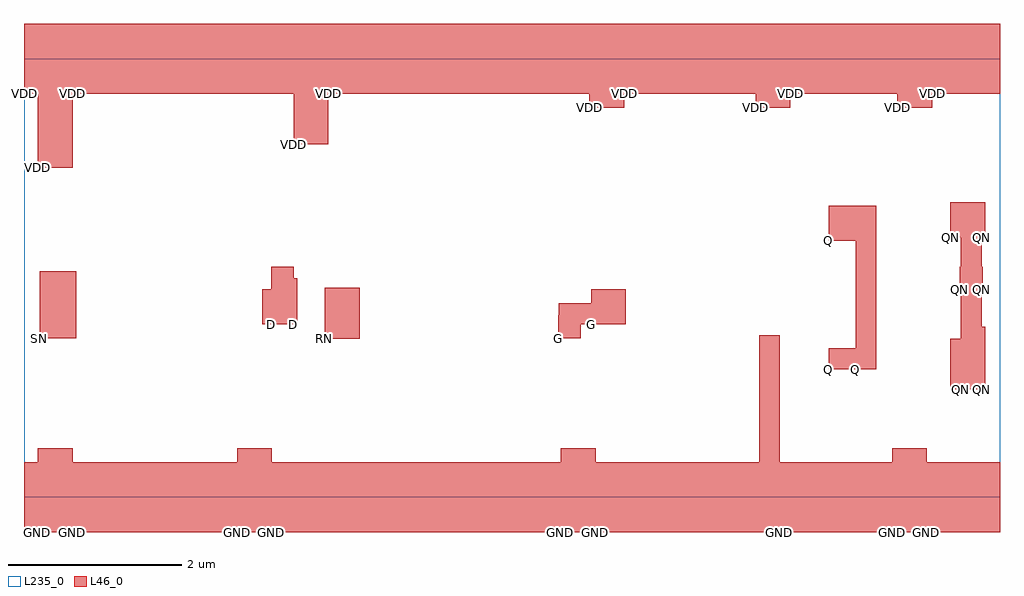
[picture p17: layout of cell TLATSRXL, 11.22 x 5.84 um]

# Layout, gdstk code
import gdstk
lib = gdstk.Library(unit=1e-6, precision=1e-09)
def R(c, l, rs):  # rectangles x0, y0, x1, y1
    for r in rs: c.add(gdstk.rectangle(r[:2], r[2:], *l))
L46_0 = (46, 0)
L235_0 = (235, 0)

tlatsrxl = lib.new_cell('TLATSRXL')
R(tlatsrxl, L46_0, [(0,-0.4,0.16,0.4), (0.16,-0.4,0.56,0.56), (0.56,-0.4,2.45,0.4), (2.45,-0.4,2.85,0.56), (2.85,-0.4,6.17,0.4), (6.17,-0.4,6.57,0.56), (6.57,-0.4,8.45,0.4), (8.45,-0.4,8.69,1.86), (8.69,-0.4,9.98,0.4), (9.98,-0.4,10.38,0.56), (10.38,-0.4,11.22,0.4), (10.65,1.24,10.77,1.82), (10.77,1.24,11.01,3.39), (11.01,1.24,11.05,1.96), (9.25,1.47,9.56,1.71), (9.56,1.47,9.8,3.35), (3.46,1.82,3.86,2.41), (0.18,1.83,0.6,2.6), (6.14,1.83,6.15,2.09), (6.15,1.83,6.4,2.23), (2.74,1.99,2.84,2.39), (2.84,1.99,3.1,2.65), (3.1,1.99,3.14,2.52), (6.4,1.99,6.52,2.23), (6.52,1.99,6.92,2.39), (10.76,2.39,10.77,2.65), (11.01,2.39,11.02,2.65), (9.25,2.95,9.56,3.35), (10.65,2.99,10.77,3.39), (11.01,2.99,11.05,3.39), (0.16,3.79,0.56,5.44), (3.1,4.06,3.5,5.44), (6.5,4.48,6.9,5.44), (8.41,4.48,8.81,5.44), (10.04,4.48,10.44,5.44), (0,4.64,0.16,5.44), (0.56,4.64,3.1,5.44), (3.5,4.64,6.5,5.44), (6.9,4.64,8.41,5.44), (8.81,4.64,10.04,5.44), (10.44,4.64,11.22,5.44)])
R(tlatsrxl, L235_0, [(0,0,11.22,5.04)])
tlatsrxl.add(gdstk.Label('SN', (0.18,1.83), layer=101, texttype=0))
tlatsrxl.add(gdstk.Label('RN', (3.46,1.82), layer=101, texttype=0))
tlatsrxl.add(gdstk.Label('QN', (11.01,1.24), layer=101, texttype=0))
tlatsrxl.add(gdstk.Label('QN', (11.01,2.99), layer=101, texttype=0))
tlatsrxl.add(gdstk.Label('QN', (11.01,2.39), layer=101, texttype=0))
tlatsrxl.add(gdstk.Label('QN', (10.77,1.24), layer=101, texttype=0))
tlatsrxl.add(gdstk.Label('QN', (10.65,1.24), layer=101, texttype=0))
tlatsrxl.add(gdstk.Label('QN', (10.76,2.39), layer=101, texttype=0))
tlatsrxl.add(gdstk.Label('QN', (10.65,2.99), layer=101, texttype=0))
tlatsrxl.add(gdstk.Label('Q', (9.56,1.47), layer=101, texttype=0))
tlatsrxl.add(gdstk.Label('Q', (9.25,1.47), layer=101, texttype=0))
tlatsrxl.add(gdstk.Label('Q', (9.25,2.95), layer=101, texttype=0))
tlatsrxl.add(gdstk.Label('G', (6.52,1.99), layer=101, texttype=0))
tlatsrxl.add(gdstk.Label('G', (6.4,1.99), layer=101, texttype=0))
tlatsrxl.add(gdstk.Label('G', (6.15,1.83), layer=101, texttype=0))
tlatsrxl.add(gdstk.Label('G', (6.14,1.83), layer=101, texttype=0))
tlatsrxl.add(gdstk.Label('D', (3.1,1.99), layer=101, texttype=0))
tlatsrxl.add(gdstk.Label('D', (2.84,1.99), layer=101, texttype=0))
tlatsrxl.add(gdstk.Label('D', (2.74,1.99), layer=101, texttype=0))
tlatsrxl.add(gdstk.Label('VDD', (10.44,4.64), layer=101, texttype=0))
tlatsrxl.add(gdstk.Label('VDD', (10.04,4.48), layer=101, texttype=0))
tlatsrxl.add(gdstk.Label('VDD', (8.81,4.64), layer=101, texttype=0))
tlatsrxl.add(gdstk.Label('VDD', (8.41,4.48), layer=101, texttype=0))
tlatsrxl.add(gdstk.Label('VDD', (6.9,4.64), layer=101, texttype=0))
tlatsrxl.add(gdstk.Label('VDD', (6.5,4.48), layer=101, texttype=0))
tlatsrxl.add(gdstk.Label('VDD', (3.5,4.64), layer=101, texttype=0))
tlatsrxl.add(gdstk.Label('VDD', (3.1,4.06), layer=101, texttype=0))
tlatsrxl.add(gdstk.Label('VDD', (0.56,4.64), layer=101, texttype=0))
tlatsrxl.add(gdstk.Label('VDD', (0.16,3.79), layer=101, texttype=0))
tlatsrxl.add(gdstk.Label('VDD', (0,4.64), layer=101, texttype=0))
tlatsrxl.add(gdstk.Label('GND', (10.38,-0.4), layer=101, texttype=0))
tlatsrxl.add(gdstk.Label('GND', (9.98,-0.4), layer=101, texttype=0))
tlatsrxl.add(gdstk.Label('GND', (8.69,-0.4), layer=101, texttype=0))
tlatsrxl.add(gdstk.Label('GND', (8.45,-0.4), layer=101, texttype=0))
tlatsrxl.add(gdstk.Label('GND', (6.57,-0.4), layer=101, texttype=0))
tlatsrxl.add(gdstk.Label('GND', (6.17,-0.4), layer=101, texttype=0))
tlatsrxl.add(gdstk.Label('GND', (2.85,-0.4), layer=101, texttype=0))
tlatsrxl.add(gdstk.Label('GND', (2.45,-0.4), layer=101, texttype=0))
tlatsrxl.add(gdstk.Label('GND', (0.56,-0.4), layer=101, texttype=0))
tlatsrxl.add(gdstk.Label('GND', (0.16,-0.4), layer=101, texttype=0))
tlatsrxl.add(gdstk.Label('GND', (0,-0.4), layer=101, texttype=0))

lib.write_gds('TLATSRXL.gds')
